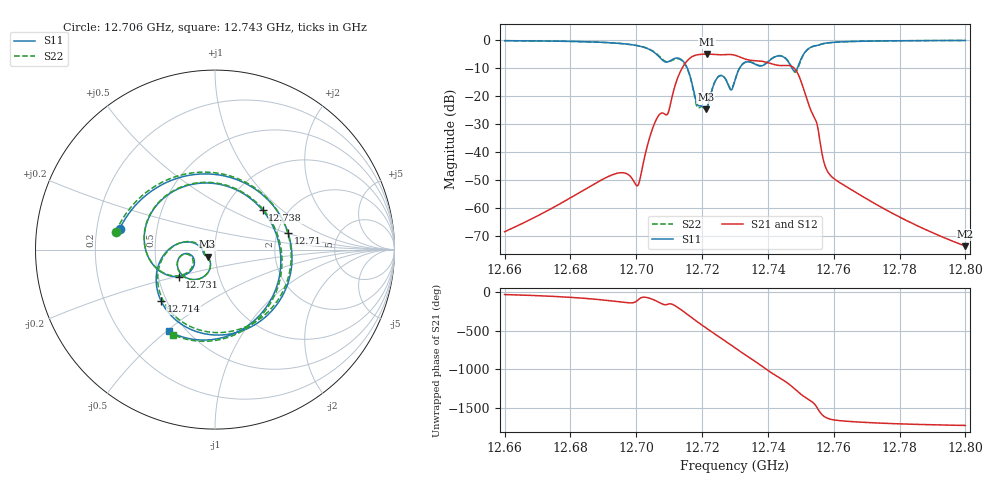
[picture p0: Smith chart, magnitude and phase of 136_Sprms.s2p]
! TOUCHSTONE file generated by CST MICROWAVE STUDIO
! Date and time: Wed Jul 31 17:40:43 2024
! Project name: WaveGuide_BPF-Ver4.1_U-shape_Ku_T3_C4_CWA_2.cst
! Parameters = {cavity_h=16; cavity_l0=10; cavity_l1=15.2265; cavity_l2=16.8533; cavity_l3=17.1164; cavity_l4=17.2688; cavity_l5=17.1368; cavity_l6=17.5735; cavity_r=2.5; cavity_screw_l=0.5; cavity_screw_r=1.5; cavity_w=8; iris_h00=0; iris_h01=8.8246; iris_h112=0; iris_h12=5.609; iris_h211=3.6612; i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
! Header version: 2018
! Port assignment regex: !\s*Touchstone port\s*([0-9]+)\s*=\s*(CST MWS port|CST DS port)\s*([0-9]+|Zmin|Zmax)\s*\(\"(.*)\"\)(\s*mode\s*([0-9]+))?.*
! Touchstone port assignment:
! Touchstone port 1 = CST MWS port 1 ("")
! Touchstone port 2 = CST MWS port 2 ("")
# GHz S RI R 50
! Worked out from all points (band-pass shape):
!   5001 points, 12.66 GHz to 12.8 GHz, reference 50 ohm
!   highest |S21| = -5.02 dB at 12.721 GHz (marker M1); lowest = -73.6 dB at 12.8 GHz (marker M2)
!   |S21| within 3 dB of the highest: 12.71504 GHz to 12.73983 GHz (24.8 MHz wide, 0.195 % of centre)
!   lowest |S11| = -24.8 dB at 12.721 GHz (marker M3), VSWR 1.12, Z = 45.9 - j3.7 ohm
!   |S11| at or under -10 dB: 12.71549 GHz to 12.73141 GHz (15.92 MHz wide, 0.125 % of centre); 12.74731 GHz to 12.74894 GHz (1.63 MHz wide, 0.0128 % of centre)
!   |S22| runs from -24.4 to -0.1 dB; largest |S21 - S12| = 1e-09
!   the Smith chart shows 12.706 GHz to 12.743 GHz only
!   S11 on the Smith chart (normalised r, x): 12.706 GHz: 0.30, +0.10; 12.71 GHz: 2.29, +0.52; 12.714 GHz: 0.47, -0.33; 12.731 GHz: 0.64, -0.20; 12.738 GHz: 1.50, +0.75; 12.743 GHz: 0.41, -0.51
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12.66  0.4672 0.8561  0.000317 -0.000207  0.000317 -0.000207  0.4739 0.8523
12.68335  0.8971 0.2739  0.000376 -0.00195  0.000376 -0.00195  0.9001 0.2626
12.70007  0.1425 -0.7874  -0.00124 -0.0022  -0.00124 -0.0022  0.1278 -0.7911
12.70634  -0.5312 0.1157  -0.0218 -0.0345  -0.0218 -0.0345  -0.5517 0.1001
12.70668  -0.4791 0.2024  -0.028 -0.0339  -0.028 -0.0339  -0.5048 0.187
12.70998  0.4069 0.0942  -0.0512 -0.0247  -0.0512 -0.0247  0.3856 0.1467
12.71429  -0.2993 -0.2884  -0.1137 0.3229  -0.1137 0.3229  -0.2866 -0.2888
12.71788  -0.0924 0.0235  0.5307 -0.0471  0.5307 -0.0471  -0.0839 0.0232
12.7211  -0.0414 -0.0402  -0.1249 -0.5466  -0.1249 -0.5466  -0.0407 -0.0449
12.72146  -0.0338 -0.0498  -0.2254 -0.5136  -0.2254 -0.5136  -0.0338 -0.0541
12.72647  -0.2097 -0.0768  -0.1069 0.5367  -0.1069 0.5367  -0.2108 -0.0797
12.73  -0.1444 -0.1271  0.5346 -0.033  0.5346 -0.033  -0.1521 -0.1256
12.73064  -0.2019 -0.15  0.4797 -0.2019  0.4797 -0.2019  -0.2092 -0.1462
12.73353  -0.3845 0.1339  -0.1169 -0.4342  -0.1169 -0.4342  -0.3842 0.1408
12.73776  0.2654 0.2192  -0.2789 0.3157  -0.2789 0.3157  0.2653 0.227
12.74333  -0.2577 -0.4547  0.3151 -0.1573  0.3151 -0.1573  -0.2315 -0.474
12.74814  0.0404 0.2751  -0.3069 -0.0272  -0.3069 -0.0272  0.0023 0.2681
12.75044  0.4544 -0.232  -0.0324 0.1552  -0.0324 0.1552  0.4434 -0.2248
12.75335  0.0625 -0.757  0.0479 0.017  0.0479 0.017  0.0495 -0.7562
12.75873  -0.5478 -0.7106  -0.00362 0.00169  -0.00362 0.00169  -0.5581 -0.7032
12.77668  -0.9673 -0.0458  -0.000106 0.00087  -0.000106 0.00087  -0.9679 -0.0371
12.8  -0.9147 0.3631  6.72e-05 0.000198  6.72e-05 0.000198  -0.9121 0.3697
